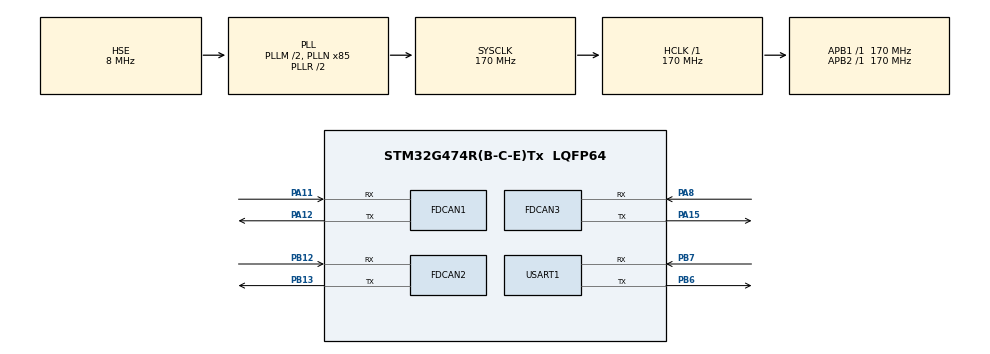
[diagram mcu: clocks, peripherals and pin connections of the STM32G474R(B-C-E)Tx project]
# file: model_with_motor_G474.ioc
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Dma.Request0=USART1_RX
Dma.USART1_RX.0.Direction=DMA_PERIPH_TO_MEMORY
Dma.USART1_RX.0.EventEnable=DISABLE
Dma.USART1_RX.0.Instance=DMA1_Channel1
Dma.USART1_RX.0.MemDataAlignment=DMA_MDATAALIGN_BYTE
Dma.USART1_RX.0.MemInc=DMA_MINC_ENABLE
Dma.USART1_RX.0.Mode=DMA_NORMAL
Dma.USART1_RX.0.PeriphDataAlignment=DMA_PDATAALIGN_BYTE
Dma.USART1_RX.0.PeriphInc=DMA_PINC_DISABLE
Dma.USART1_RX.0.Polarity=HAL_DMAMUX_REQ_GEN_RISING
Dma.USART1_RX.0.Priority=DMA_PRIORITY_LOW
Dma.USART1_RX.0.RequestNumber=1
Dma.USART1_RX.0.SignalID=NONE
Dma.USART1_RX.0.SyncEnable=DISABLE
Dma.USART1_RX.0.SyncPolarity=HAL_DMAMUX_SYNC_NO_EVENT
Dma.USART1_RX.0.SyncRequestNumber=1
Dma.USART1_RX.0.SyncSignalID=NONE
FDCAN1.CalculateBaudRateNominal=1000000
FDCAN1.CalculateTimeBitNominal=1000
FDCAN1.CalculateTimeQuantumNominal=100.0
FDCAN1.DataPrescaler=17
FDCAN1.DataTimeSeg1=6
FDCAN1.DataTimeSeg2=3
FDCAN1.NominalPrescaler=17
FDCAN1.NominalTimeSeg1=6
FDCAN1.NominalTimeSeg2=3
FDCAN1.StdFiltersNbr=1
FDCAN2.CalculateBaudRateNominal=1000000
FDCAN2.CalculateTimeBitNominal=1000
FDCAN2.CalculateTimeQuantumNominal=100.0
FDCAN2.DataPrescaler=17
FDCAN2.DataTimeSeg1=6
FDCAN2.DataTimeSeg2=3
FDCAN2.Mode=FDCAN_MODE_NORMAL
FDCAN2.NominalPrescaler=17
FDCAN2.NominalTimeSeg1=6
FDCAN2.NominalTimeSeg2=3
FDCAN2.StdFiltersNbr=1
FDCAN3.CalculateBaudRateNominal=1000000
FDCAN3.CalculateTimeBitNominal=1000
FDCAN3.CalculateTimeQuantumNominal=100.0
FDCAN3.DataPrescaler=17
FDCAN3.DataTimeSeg1=6
FDCAN3.DataTimeSeg2=3
FDCAN3.NominalPrescaler=17
FDCAN3.NominalTimeSeg1=6
FDCAN3.NominalTimeSeg2=3
FDCAN3.StdFiltersNbr=1
FREERTOS.Tasks01=defaultTask,24,128,StartDefaultTask,Default,NULL,Dynamic,NULL,NULL
Mcu.Family=STM32G4
Mcu.Name=STM32G474R(B-C-E)Tx
Mcu.Package=LQFP64
NVIC.DMA1_Channel1_IRQn=true\:5\:0\:false\:false\:true\:true\:false\:true\:true
NVIC.FDCAN1_IT0_IRQn=true\:5\:0\:false\:false\:true\:true\:true\:true\:true
NVIC.FDCAN1_IT1_IRQn=true\:5\:0\:false\:false\:true\:true\:true\:true\:true
NVIC.FDCAN2_IT0_IRQn=true\:5\:0\:false\:false\:true\:true\:true\:true\:true
NVIC.FDCAN2_IT1_IRQn=true\:5\:0\:false\:false\:true\:true\:true\:true\:true
NVIC.PriorityGroup=NVIC_PRIORITYGROUP_4
NVIC.TIM1_UP_TIM16_IRQn=true\:15\:0\:false\:false\:true\:false\:false\:true\:true
NVIC.TimeBase=TIM1_UP_TIM16_IRQn
NVIC.TimeBaseIP=TIM1
NVIC.USART1_IRQn=true\:5\:0\:false\:false\:true\:true\:true\:true\:true
PA11.Mode=FDCAN_Activate
PA11.Signal=FDCAN1_RX
PA12.Mode=FDCAN_Activate
PA12.Signal=FDCAN1_TX
PA13.Mode=Serial_Wire
PA13.Signal=SYS_JTMS-SWDIO
PA14.Mode=Serial_Wire
PA14.Signal=SYS_JTCK-SWCLK
PA15.Mode=FDCAN_Activate
PA15.Signal=FDCAN3_TX
PA8.Mode=FDCAN_Activate
PA8.Signal=FDCAN3_RX
PB12.Mode=FDCAN_Activate
PB12.Signal=FDCAN2_RX
PB13.Mode=FDCAN_Activate
PB13.Signal=FDCAN2_TX
PB6.Mode=Asynchronous
PB6.Signal=USART1_TX
PB7.Mode=Asynchronous
PB7.Signal=USART1_RX
PC14-OSC32_IN.Mode=LSE-External-Oscillator
PC14-OSC32_IN.Signal=RCC_OSC32_IN
PC15-OSC32_OUT.Mode=LSE-External-Oscillator
PC15-OSC32_OUT.Signal=RCC_OSC32_OUT
PF0-OSC_IN.Mode=HSE-External-Oscillator
PF0-OSC_IN.Signal=RCC_OSC_IN
PF1-OSC_OUT.Mode=HSE-External-Oscillator
PF1-OSC_OUT.Signal=RCC_OSC_OUT
ProjectManager.HeapSize=0x200
ProjectManager.StackSize=0x400
ProjectManager.TargetToolchain=MDK-ARM V5.32
RCC.ADC12Freq_Value=170000000
RCC.ADC345Freq_Value=170000000
RCC.AHBFreq_Value=170000000
RCC.APB1Freq_Value=170000000
RCC.APB1TimFreq_Value=170000000
RCC.APB2Freq_Value=170000000
RCC.APB2TimFreq_Value=170000000
RCC.CortexFreq_Value=170000000
RCC.EXTERNAL_CLOCK_VALUE=12288000
RCC.HCLKFreq_Value=170000000
RCC.HSE_VALUE=8000000
RCC.HSI48_VALUE=48000000
RCC.HSI_VALUE=16000000
RCC.PLLM=RCC_PLLM_DIV2
RCC.PLLN=85
RCC.PLLSourceVirtual=RCC_PLLSOURCE_HSE
RCC.SYSCLKFreq_VALUE=170000000
RCC.SYSCLKSource=RCC_SYSCLKSOURCE_PLLCLK
RCC.USBFreq_Value=170000000
RCC.VCOOutputFreq_Value=340000000
USART1.VirtualMode-Asynchronous=VM_ASYNC
VP_FREERTOS_VS_CMSIS_V2.Mode=CMSIS_V2
VP_SYS_VS_DBSignals.Mode=DisableDeadBatterySignals
VP_SYS_VS_tim1.Mode=TIM1
board=custom

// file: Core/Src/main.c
/* USER CODE BEGIN Header */
/**
  ******************************************************************************
  * @file           : main.c
  * @brief          : Main program body
  ******************************************************************************
  * @attention
  *
  * Copyright (c) 2025 STMicroelectronics.
  * All rights reserved.
  *
  * This software is licensed under terms that can be found in the LICENSE file
  * in the root directory of this software component.
  * If no LICENSE file comes with this software, it is provided AS-IS.
  *
  ******************************************************************************
  */
/* USER CODE END Header */
#include "main.h"
#include "cmsis_os.h"
#include "dma.h"
#include "fdcan.h"
#include "usart.h"
#include "gpio.h"

/* USER CODE BEGIN Includes */
#include "fdcan_bsp.h"
#include "dji_motor.h"
#include "cybergear_motor.h"
/* USER CODE END Includes */

void SystemClock_Config(void);
void MX_FREERTOS_Init(void);

int main(void)
{

  /* MCU Configuration--------------------------------------------------------*/

  /* Reset of all peripherals, Initializes the Flash interface and the Systick. */
  HAL_Init();

  /* Configure the system clock */
  SystemClock_Config();

  /* Initialize all configured peripherals */
  MX_GPIO_Init();
  MX_DMA_Init();
  MX_USART1_UART_Init();
  MX_FDCAN1_Init();
  MX_FDCAN2_Init();
  MX_FDCAN3_Init();
  /* USER CODE BEGIN 2 */

	// 1. 初始化 FDCAN 分发器
	fdcan_bsp_init();

	// 2. 初始化电机
  dji_motors_init();
	cybergear_motors_init();

	// 3. 启动 FDCAN 外设
  fdcan_bsp_start(&hfdcan1);
	fdcan_bsp_start(&hfdcan2);

  /* USER CODE END 2 */

  /* Init scheduler */
  osKernelInitialize();  /* Call init function for freertos objects (in cmsis_os2.c) */
  MX_FREERTOS_Init();

  /* Start scheduler */
  osKernelStart();

  /* We should never get here as control is now taken by the scheduler */

  /* Infinite loop */
  while (1)
  {

  }
}

void SystemClock_Config(void)
{
  RCC_OscInitTypeDef RCC_OscInitStruct = {0};
  RCC_ClkInitTypeDef RCC_ClkInitStruct = {0};

  /** Configure the main internal regulator output voltage
  */
  HAL_PWREx_ControlVoltageScaling(PWR_REGULATOR_VOLTAGE_SCALE1_BOOST);

  /** Initializes the RCC Oscillators according to the specified parameters
  * in the RCC_OscInitTypeDef structure.
  */
  RCC_OscInitStruct.OscillatorType = RCC_OSCILLATORTYPE_HSE;
  RCC_OscInitStruct.HSEState = RCC_HSE_ON;
  RCC_OscInitStruct.PLL.PLLState = RCC_PLL_ON;
  RCC_OscInitStruct.PLL.PLLSource = RCC_PLLSOURCE_HSE;
  RCC_OscInitStruct.PLL.PLLM = RCC_PLLM_DIV2;
  RCC_OscInitStruct.PLL.PLLN = 85;
  RCC_OscInitStruct.PLL.PLLP = RCC_PLLP_DIV2;
  RCC_OscInitStruct.PLL.PLLQ = RCC_PLLQ_DIV2;
  RCC_OscInitStruct.PLL.PLLR = RCC_PLLR_DIV2;
  if (HAL_RCC_OscConfig(&RCC_OscInitStruct) != HAL_OK)
  {
    Error_Handler();
  }

  /** Initializes the CPU, AHB and APB buses clocks
  */
  RCC_ClkInitStruct.ClockType = RCC_CLOCKTYPE_HCLK|RCC_CLOCKTYPE_SYSCLK
                              |RCC_CLOCKTYPE_PCLK1|RCC_CLOCKTYPE_PCLK2;
  RCC_ClkInitStruct.SYSCLKSource = RCC_SYSCLKSOURCE_PLLCLK;
  RCC_ClkInitStruct.AHBCLKDivider = RCC_SYSCLK_DIV1;
  RCC_ClkInitStruct.APB1CLKDivider = RCC_HCLK_DIV1;
  RCC_ClkInitStruct.APB2CLKDivider = RCC_HCLK_DIV1;

  if (HAL_RCC_ClockConfig(&RCC_ClkInitStruct, FLASH_LATENCY_4) != HAL_OK)
  {
    Error_Handler();
  }
}

void HAL_TIM_PeriodElapsedCallback(TIM_HandleTypeDef *htim)
{
  if (htim->Instance == TIM1)
  {
    HAL_IncTick();
  }
}

void Error_Handler(void)
{
  __disable_irq();
  while (1)
  {
  }
}

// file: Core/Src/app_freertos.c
/* USER CODE BEGIN Header */
/**
  ******************************************************************************
  * File Name          : app_freertos.c
  * Description        : Code for freertos applications
  ******************************************************************************
  * @attention
  *
  * Copyright (c) 2025 STMicroelectronics.
  * All rights reserved.
  *
  * This software is licensed under terms that can be found in the LICENSE file
  * in the root directory of this software component.
  * If no LICENSE file comes with this software, it is provided AS-IS.
  *
  ******************************************************************************
  */
/* USER CODE END Header */

#include "FreeRTOS.h"
#include "task.h"
#include "main.h"
#include "cmsis_os.h"

/* USER CODE BEGIN Includes */
#include "cybergear_motor.h"
#include "trajectory_planner.h"
/* USER CODE END Includes */

/* USER CODE BEGIN PD */
#define BUFFER_SIZE 64
/* USER CODE END PD */

/* USER CODE BEGIN Variables */
extern UART_HandleTypeDef huart1;

static CyberGear_Motor_Instance *mi_motor = NULL;
uint8_t uart_rx_buffer[BUFFER_SIZE];

volatile float set_pos = 0;
/* USER CODE END Variables */
/* Definitions for defaultTask */
osThreadId_t defaultTaskHandle;
const osThreadAttr_t defaultTask_attributes = {
  .name = "defaultTask",
  .priority = (osPriority_t) osPriorityNormal,
  .stack_size = 128 * 4
};

void StartDefaultTask(void *argument);

void MX_FREERTOS_Init(void); /* (MISRA C 2004 rule 8.1) */

void MX_FREERTOS_Init(void) {
  /* USER CODE BEGIN Init */
	HAL_UARTEx_ReceiveToIdle_DMA(&huart1, uart_rx_buffer, BUFFER_SIZE);
	trajectory_planner_init();
  /* USER CODE END Init */

  /* Create the thread(s) */
  /* creation of defaultTask */
  defaultTaskHandle = osThreadNew(StartDefaultTask, NULL, &defaultTask_attributes);

}

void StartDefaultTask(void *argument)
{
  /* USER CODE BEGIN StartDefaultTask */
	mi_motor = cybergear_motor_get_instance(0);

	vTaskDelay(pdMS_TO_TICKS(10));
	cybergear_motor_stop(mi_motor);
	vTaskDelay(pdMS_TO_TICKS(10));
	cybergear_motor_set_mode(mi_motor, MOTOR_CONTROL_MODE_POSITION);
	vTaskDelay(pdMS_TO_TICKS(10));
	//cybergear_motor_set_current_limit(mi_motor, 15.0f);
	vTaskDelay(pdMS_TO_TICKS(10));
	cybergear_motor_enable(mi_motor);
	//vTaskDelay(pdMS_TO_TICKS(10));
	//cybergear_motor_set_zero_position(mi_motor);
	//vTaskDelay(pdMS_TO_TICKS(10));
  //cybergear_motor_set_speed(mi_motor, 6.28);
	//vTaskDelay(pdMS_TO_TICKS(10));
	trajectory_planner_start(mi_motor);
  /* Infinite loop */
  for(;;)
  {
		trajectory_planner_set_target(cybergear_motor_degree2rad(set_pos));

    printf("current pos: %.2f		|		current speed: %.2f rad/s\r\n", mi_motor->measure.angle / M_PI * 180.0, mi_motor->measure.speed);
		vTaskDelay(10);
  }
  /* USER CODE END StartDefaultTask */
}

/* USER CODE BEGIN Application */
/**
  * @brief  Reception Event Callback (Rx event notification called after use of advanced reception service).
  * @param  huart UART handle
  * @param  Size  Number of data available in application reception buffer (indicates a position in
  *               reception buffer until which, data are available)
  * @retval None
  */
void HAL_UARTEx_RxEventCallback(UART_HandleTypeDef *huart, uint16_t Size)
{
	if(huart->Instance == USART1)
  {
    if(uart_rx_buffer[0] == 's')
    {
      if(set_pos == 0.0f)
      {
        set_pos = 180.0f;
      }
      else
      {
        set_pos = 0.0f;
      }
    }

    HAL_UARTEx_ReceiveToIdle_DMA(&huart1, uart_rx_buffer, BUFFER_SIZE);
  }
}
/* USER CODE END Application */
